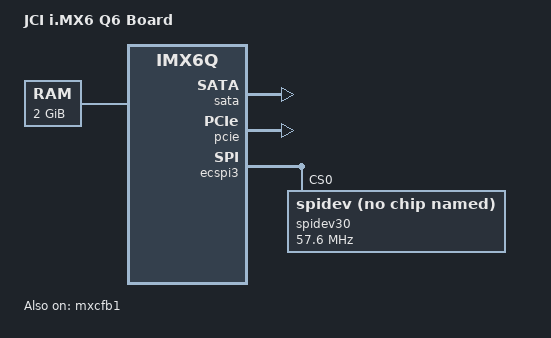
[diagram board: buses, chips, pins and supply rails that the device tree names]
/*
 * Copyright 2012 Freescale Semiconductor, Inc.
 * Copyright 2011 Linaro Ltd.
 *
 * The code contained herein is licensed under the GNU General Public
 * License. You may obtain a copy of the GNU General Public License
 * Version 2 or later at the following locations:
 *
 * http://www.opensource.org/licenses/gpl-license.html
 * http://www.gnu.org/copyleft/gpl.html
 */

/dts-v1/;

#include "imx6q.dtsi"
#include "imx6qdl-Q6.dtsi"

/ {
	model = "JCI i.MX6 Q6 Board";
	compatible = "fsl,imx6q-Q6", "fsl,imx6q";

	memory {
		reg = <0x10000000 0x80000000>; /* reg = 0x10000000 (base address) 0x80000000 (size = 2147483648 bits => 2GB) */
	};
};

/*
&ldb {
	lvds-channel@0 {
		crtc = "ipu2-di0";
	};

	lvds-channel@1 {
		crtc = "ipu2-di1";
	};
};
*/

&mxcfb1 {
	status = "okay";
};

&mxcfb2 {
	status = "disabled";
};

&mxcfb3 {
	status = "disabled";
};

&mxcfb4 {
	status = "disabled";
};

&sata {
	status = "okay";
};

&pcie {
	status = "okay";
};


&ecspi3 {
	spidev30: spi@3 {
		compatible = "spidev";
		reg = <0>;
		spi-max-frequency = <57600000>;
	};
};
